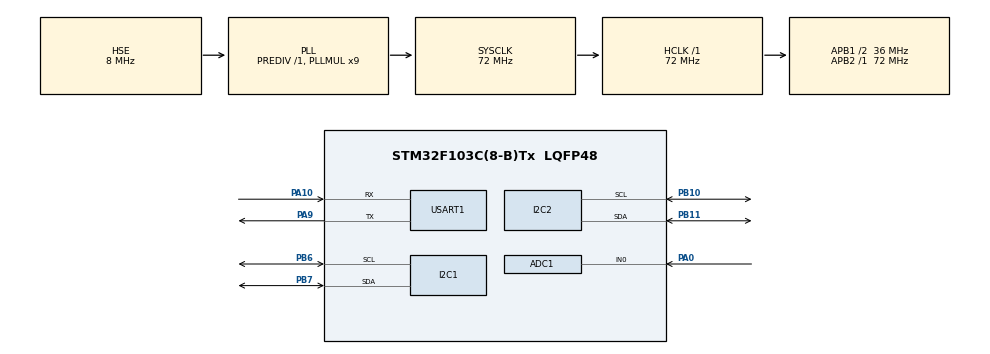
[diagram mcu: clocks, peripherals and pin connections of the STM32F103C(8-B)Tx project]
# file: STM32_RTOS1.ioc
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ADC1.Channel-0\#ChannelRegularConversion=ADC_CHANNEL_0
ADC1.NbrOfConversionFlag=1
ADC1.Rank-0\#ChannelRegularConversion=1
ADC1.SamplingTime-0\#ChannelRegularConversion=ADC_SAMPLETIME_1CYCLE_5
ADC1.master=1
FREERTOS.BinarySemaphores01=semDataReady,Dynamic,NULL,Depleted;semUartCmd,Dynamic,NULL,Depleted
FREERTOS.Mutexes01=myUartMutex,Dynamic,NULL,Available
FREERTOS.Tasks01=Task1_SHT30,24,512,StartTask1_SHT30,Default,NULL,Dynamic,NULL,NULL;Task2_Soil,24,512,StartTask2_soil,Default,NULL,Dynamic,NULL,NULL;Task3_Cmd,24,512,StartTask3_Cmd,Default,NULL,Dynamic,NULL,NULL;Task4_LCD,24,256,StartTask4_LCD,Default,NULL,Dynamic,NULL,NULL
FREERTOS.configENABLE_FPU=0
FREERTOS.configTOTAL_HEAP_SIZE=10240
FREERTOS.configUSE_IDLE_HOOK=1
Mcu.Family=STM32F1
Mcu.Name=STM32F103C(8-B)Tx
Mcu.Package=LQFP48
NVIC.PriorityGroup=NVIC_PRIORITYGROUP_4
NVIC.TIM4_IRQn=true\:15\:0\:false\:false\:true\:false\:false\:true\:true
NVIC.TimeBase=TIM4_IRQn
NVIC.TimeBaseIP=TIM4
NVIC.USART1_IRQn=true\:5\:0\:false\:false\:true\:true\:true\:true\:true
PA0-WKUP.Signal=ADCx_IN0
PA10.Mode=Asynchronous
PA10.Signal=USART1_RX
PA13.Mode=Serial_Wire
PA13.Signal=SYS_JTMS-SWDIO
PA14.Mode=Serial_Wire
PA14.Signal=SYS_JTCK-SWCLK
PA9.Mode=Asynchronous
PA9.Signal=USART1_TX
PB10.Mode=I2C
PB10.Signal=I2C2_SCL
PB11.Mode=I2C
PB11.Signal=I2C2_SDA
PB6.Mode=I2C
PB6.Signal=I2C1_SCL
PB7.Mode=I2C
PB7.Signal=I2C1_SDA
PD0-OSC_IN.Mode=HSE-External-Oscillator
PD0-OSC_IN.Signal=RCC_OSC_IN
PD1-OSC_OUT.Mode=HSE-External-Oscillator
PD1-OSC_OUT.Signal=RCC_OSC_OUT
ProjectManager.HeapSize=0x200
ProjectManager.StackSize=0x400
ProjectManager.TargetToolchain=STM32CubeIDE
RCC.ADCPresc=RCC_ADCPCLK2_DIV6
RCC.AHBFreq_Value=72000000
RCC.APB1CLKDivider=RCC_HCLK_DIV2
RCC.APB1Freq_Value=36000000
RCC.APB1TimFreq_Value=72000000
RCC.APB2Freq_Value=72000000
RCC.APB2TimFreq_Value=72000000
RCC.HCLKFreq_Value=72000000
RCC.PLLMUL=RCC_PLL_MUL9
RCC.PLLSourceVirtual=RCC_PLLSOURCE_HSE
RCC.SYSCLKFreq_VALUE=72000000
RCC.SYSCLKSource=RCC_SYSCLKSOURCE_PLLCLK
RCC.USBFreq_Value=72000000
SH.ADCx_IN0.0=ADC1_IN0,IN0
USART1.VirtualMode=VM_ASYNC
VP_FREERTOS_VS_CMSIS_V2.Mode=CMSIS_V2
VP_SYS_VS_tim4.Mode=TIM4
board=custom

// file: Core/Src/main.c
/* USER CODE BEGIN Header */
/**
  ******************************************************************************
  * @file           : main.c
  * @brief          : Main program body
  ******************************************************************************
  * @attention
  *
  * Copyright (c) 2026 STMicroelectronics.
  * All rights reserved.
  *
  * This software is licensed under terms that can be found in the LICENSE file
  * in the root directory of this software component.
  * If no LICENSE file comes with this software, it is provided AS-IS.
  *
  ******************************************************************************
  */
/* USER CODE END Header */
#include "main.h"
#include "cmsis_os.h"

/* USER CODE BEGIN Includes */
#include <stdio.h>
#include <string.h>
#include <stdarg.h>
#include "lcd_con.h"
#include "sht3x.h"
/* USER CODE END Includes */

ADC_HandleTypeDef hadc1;

I2C_HandleTypeDef hi2c1;
I2C_HandleTypeDef hi2c2;

UART_HandleTypeDef huart1;

/* Definitions for Task1_SHT30 */
osThreadId_t Task1_SHT30Handle;
const osThreadAttr_t Task1_SHT30_attributes = {
  .name = "Task1_SHT30",
  .stack_size = 512 * 4,
  .priority = (osPriority_t) osPriorityNormal,
};
/* Definitions for Task2_Soil */
osThreadId_t Task2_SoilHandle;
const osThreadAttr_t Task2_Soil_attributes = {
  .name = "Task2_Soil",
  .stack_size = 512 * 4,
  .priority = (osPriority_t) osPriorityNormal,
};
/* Definitions for Task3_Cmd */
osThreadId_t Task3_CmdHandle;
const osThreadAttr_t Task3_Cmd_attributes = {
  .name = "Task3_Cmd",
  .stack_size = 512 * 4,
  .priority = (osPriority_t) osPriorityNormal,
};
/* Definitions for Task4_LCD */
osThreadId_t Task4_LCDHandle;
const osThreadAttr_t Task4_LCD_attributes = {
  .name = "Task4_LCD",
  .stack_size = 256 * 4,
  .priority = (osPriority_t) osPriorityNormal,
};
/* Definitions for myUartMutex */
osMutexId_t myUartMutexHandle;
const osMutexAttr_t myUartMutex_attributes = {
  .name = "myUartMutex"
};
/* Definitions for semDataReady */
osSemaphoreId_t semDataReadyHandle;
const osSemaphoreAttr_t semDataReady_attributes = {
  .name = "semDataReady"
};
/* Definitions for semUartCmd */
osSemaphoreId_t semUartCmdHandle;
const osSemaphoreAttr_t semUartCmd_attributes = {
  .name = "semUartCmd"
};
/* USER CODE BEGIN PV */
// --- BIẾN TOÀN CỤC (Tên ngắn gọn theo yêu cầu) ---
float temp = 0.0f;  // Nhiệt độ từ SHT30
float soil = 0.0f;  // Độ ẩm đất từ ADC

// Buffer nhận UART
static char rx_buffer[50];
static uint8_t rx_byte;

sht3x_handle_t sht3x;

uint32_t cycle_SHT30 = 1000;
uint32_t cycle_Soil  = 2000;
/* USER CODE END PV */

void SystemClock_Config(void);
static void MX_GPIO_Init(void);
static void MX_USART1_UART_Init(void);
static void MX_ADC1_Init(void);
static void MX_I2C1_Init(void);
static void MX_I2C2_Init(void);
void StartTask1_SHT30(void *argument);
void StartTask2_soil(void *argument);
void StartTask3_Cmd(void *argument);
void StartTask4_LCD(void *argument);

/* USER CODE BEGIN 0 */
// Hàm này được thư viện chuẩn C gọi mỗi khi bạn dùng printf
#ifdef __GNUC__
int _write(int file, char *ptr, int len)
{

	HAL_UART_Transmit(&huart1, (uint8_t*)ptr, len, 100);
    return len;
}
#endif

float SoilMoisture_Convert(uint16_t adc_value) {
    if (adc_value > 2500) adc_value = 2500;
    if (adc_value < 830)  adc_value = 830;
    return (float)(2500 - adc_value) * 100.0f / (2500 - 830);
}

/* USER CODE END 0 */

int main(void)
{

  /* MCU Configuration--------------------------------------------------------*/

  /* Reset of all peripherals, Initializes the Flash interface and the Systick. */
  HAL_Init();

  /* Configure the system clock */
  SystemClock_Config();

  /* Initialize all configured peripherals */
  MX_GPIO_Init();
  MX_USART1_UART_Init();
  MX_ADC1_Init();
  MX_I2C1_Init();
  MX_I2C2_Init();
  /* USER CODE BEGIN 2 */
  sht3x.i2c_handle = &hi2c2;
  sht3x.device_address = SHT3X_I2C_DEVICE_ADDRESS_ADDR_PIN_LOW;
  lcd_init(&hi2c1);
  lcd_puts(&hi2c1, "System Init...");
  HAL_Delay(1000);
  lcd_clear(&hi2c1);

  setvbuf(stdout, NULL, _IONBF, 0);
  // Bật ngắt UART nhận
  HAL_UART_Receive_IT(&huart1, &rx_byte, 1);
  /* USER CODE END 2 */

  /* Init scheduler */
  osKernelInitialize();
  /* Create the mutex(es) */
  /* creation of myUartMutex */
  myUartMutexHandle = osMutexNew(&myUartMutex_attributes);

  /* Create the semaphores(s) */
  /* creation of semDataReady */
  semDataReadyHandle = osSemaphoreNew(1, 0, &semDataReady_attributes);

  /* creation of semUartCmd */
  semUartCmdHandle = osSemaphoreNew(1, 0, &semUartCmd_attributes);

  /* Create the thread(s) */
  /* creation of Task1_SHT30 */
  Task1_SHT30Handle = osThreadNew(StartTask1_SHT30, NULL, &Task1_SHT30_attributes);

  /* creation of Task2_Soil */
  Task2_SoilHandle = osThreadNew(StartTask2_soil, NULL, &Task2_Soil_attributes);

  /* creation of Task3_Cmd */
  Task3_CmdHandle = osThreadNew(StartTask3_Cmd, NULL, &Task3_Cmd_attributes);

  /* creation of Task4_LCD */
  Task4_LCDHandle = osThreadNew(StartTask4_LCD, NULL, &Task4_LCD_attributes);

  /* Start scheduler */
  osKernelStart();

  /* We should never get here as control is now taken by the scheduler */

  /* Infinite loop */
  while (1)
  {

  }
}

void SystemClock_Config(void)
{
  RCC_OscInitTypeDef RCC_OscInitStruct = {0};
  RCC_ClkInitTypeDef RCC_ClkInitStruct = {0};
  RCC_PeriphCLKInitTypeDef PeriphClkInit = {0};

  /** Initializes the RCC Oscillators according to the specified parameters
  * in the RCC_OscInitTypeDef structure.
  */
  RCC_OscInitStruct.OscillatorType = RCC_OSCILLATORTYPE_HSE;
  RCC_OscInitStruct.HSEState = RCC_HSE_ON;
  RCC_OscInitStruct.HSEPredivValue = RCC_HSE_PREDIV_DIV1;
  RCC_OscInitStruct.HSIState = RCC_HSI_ON;
  RCC_OscInitStruct.PLL.PLLState = RCC_PLL_ON;
  RCC_OscInitStruct.PLL.PLLSource = RCC_PLLSOURCE_HSE;
  RCC_OscInitStruct.PLL.PLLMUL = RCC_PLL_MUL9;
  if (HAL_RCC_OscConfig(&RCC_OscInitStruct) != HAL_OK)
  {
    Error_Handler();
  }

  /** Initializes the CPU, AHB and APB buses clocks
  */
  RCC_ClkInitStruct.ClockType = RCC_CLOCKTYPE_HCLK|RCC_CLOCKTYPE_SYSCLK
                              |RCC_CLOCKTYPE_PCLK1|RCC_CLOCKTYPE_PCLK2;
  RCC_ClkInitStruct.SYSCLKSource = RCC_SYSCLKSOURCE_PLLCLK;
  RCC_ClkInitStruct.AHBCLKDivider = RCC_SYSCLK_DIV1;
  RCC_ClkInitStruct.APB1CLKDivider = RCC_HCLK_DIV2;
  RCC_ClkInitStruct.APB2CLKDivider = RCC_HCLK_DIV1;

  if (HAL_RCC_ClockConfig(&RCC_ClkInitStruct, FLASH_LATENCY_2) != HAL_OK)
  {
    Error_Handler();
  }
  PeriphClkInit.PeriphClockSelection = RCC_PERIPHCLK_ADC;
  PeriphClkInit.AdcClockSelection = RCC_ADCPCLK2_DIV6;
  if (HAL_RCCEx_PeriphCLKConfig(&PeriphClkInit) != HAL_OK)
  {
    Error_Handler();
  }
}

static void MX_ADC1_Init(void)
{

  ADC_ChannelConfTypeDef sConfig = {0};

  /** Common config
  */
  hadc1.Instance = ADC1;
  hadc1.Init.ScanConvMode = ADC_SCAN_DISABLE;
  hadc1.Init.ContinuousConvMode = DISABLE;
  hadc1.Init.DiscontinuousConvMode = DISABLE;
  hadc1.Init.ExternalTrigConv = ADC_SOFTWARE_START;
  hadc1.Init.DataAlign = ADC_DATAALIGN_RIGHT;
  hadc1.Init.NbrOfConversion = 1;
  if (HAL_ADC_Init(&hadc1) != HAL_OK)
  {
    Error_Handler();
  }

  /** Configure Regular Channel
  */
  sConfig.Channel = ADC_CHANNEL_0;
  sConfig.Rank = ADC_REGULAR_RANK_1;
  sConfig.SamplingTime = ADC_SAMPLETIME_1CYCLE_5;
  if (HAL_ADC_ConfigChannel(&hadc1, &sConfig) != HAL_OK)
  {
    Error_Handler();
  }

}

static void MX_I2C1_Init(void)
{

  hi2c1.Instance = I2C1;
  hi2c1.Init.ClockSpeed = 100000;
  hi2c1.Init.DutyCycle = I2C_DUTYCYCLE_2;
  hi2c1.Init.OwnAddress1 = 0;
  hi2c1.Init.AddressingMode = I2C_ADDRESSINGMODE_7BIT;
  hi2c1.Init.DualAddressMode = I2C_DUALADDRESS_DISABLE;
  hi2c1.Init.OwnAddress2 = 0;
  hi2c1.Init.GeneralCallMode = I2C_GENERALCALL_DISABLE;
  hi2c1.Init.NoStretchMode = I2C_NOSTRETCH_DISABLE;
  if (HAL_I2C_Init(&hi2c1) != HAL_OK)
  {
    Error_Handler();
  }

}

static void MX_I2C2_Init(void)
{

  hi2c2.Instance = I2C2;
  hi2c2.Init.ClockSpeed = 100000;
  hi2c2.Init.DutyCycle = I2C_DUTYCYCLE_2;
  hi2c2.Init.OwnAddress1 = 0;
  hi2c2.Init.AddressingMode = I2C_ADDRESSINGMODE_7BIT;
  hi2c2.Init.DualAddressMode = I2C_DUALADDRESS_DISABLE;
  hi2c2.Init.OwnAddress2 = 0;
  hi2c2.Init.GeneralCallMode = I2C_GENERALCALL_DISABLE;
  hi2c2.Init.NoStretchMode = I2C_NOSTRETCH_DISABLE;
  if (HAL_I2C_Init(&hi2c2) != HAL_OK)
  {
    Error_Handler();
  }

}

static void MX_USART1_UART_Init(void)
{

  huart1.Instance = USART1;
  huart1.Init.BaudRate = 115200;
  huart1.Init.WordLength = UART_WORDLENGTH_8B;
  huart1.Init.StopBits = UART_STOPBITS_1;
  huart1.Init.Parity = UART_PARITY_NONE;
  huart1.Init.Mode = UART_MODE_TX_RX;
  huart1.Init.HwFlowCtl = UART_HWCONTROL_NONE;
  huart1.Init.OverSampling = UART_OVERSAMPLING_16;
  if (HAL_UART_Init(&huart1) != HAL_OK)
  {
    Error_Handler();
  }

}

static void MX_GPIO_Init(void)
{

  /* GPIO Ports Clock Enable */
  __HAL_RCC_GPIOD_CLK_ENABLE();
  __HAL_RCC_GPIOA_CLK_ENABLE();
  __HAL_RCC_GPIOB_CLK_ENABLE();

}

/* USER CODE BEGIN 4 */
/* Callback ngắt UART */
void HAL_UART_RxCpltCallback(UART_HandleTypeDef *huart)
{
  static uint8_t i = 0;
  if (huart->Instance == USART1)
  {
    if (rx_byte == '!') {
        rx_buffer[i] = 0;
        osSemaphoreRelease(semUartCmdHandle);
        i = 0;
    } else {
        if (i < 49) rx_buffer[i++] = rx_byte;
    }
    HAL_UART_Receive_IT(&huart1, &rx_byte, 1);
  }
}
/* USER CODE END 4 */

void StartTask1_SHT30(void *argument)
{
  /* USER CODE BEGIN 5 */
  uint32_t tick = osKernelGetTickCount();
  float dummy_hum;
  /* Infinite loop */
  for(;;)
  {
    sht3x_read_temperature_and_humidity(&sht3x, &temp, &dummy_hum);
	osSemaphoreRelease(semDataReadyHandle);
	if (osMutexAcquire(myUartMutexHandle, osWaitForever) == osOK) {
	    printf("Task 1 in: %lu\n", osKernelGetTickCount());
	    printf("Data SHT30: Temp: %.1f C\n\n", temp);
	    osMutexRelease(myUartMutexHandle);
	}
	tick += cycle_SHT30;
	osDelayUntil(tick);
  }
  /* USER CODE END 5 */
}

void StartTask2_soil(void *argument)
{
  /* USER CODE BEGIN StartTask2_soil */
  uint32_t tick = osKernelGetTickCount();
  /* Infinite loop */
  for(;;)
  {
	HAL_ADC_Start(&hadc1);
	if(HAL_ADC_PollForConversion(&hadc1, 10) == HAL_OK) {
	   soil = SoilMoisture_Convert(HAL_ADC_GetValue(&hadc1));
	}
	HAL_ADC_Stop(&hadc1);
	osSemaphoreRelease(semDataReadyHandle);
	if (osMutexAcquire(myUartMutexHandle, osWaitForever) == osOK) {
	    printf("Task 2 in: %lu\n", osKernelGetTickCount());
	    printf("Data Soil: %.1f %%\n\n", soil);
	    osMutexRelease(myUartMutexHandle);
	}
	tick += cycle_Soil;
	osDelayUntil(tick);
  }
  /* USER CODE END StartTask2_soil */
}

void StartTask3_Cmd(void *argument)
{
  /* USER CODE BEGIN StartTask3_Cmd */
  int new_value = 0; // Biến tạm để lưu số tách được
  /* Infinite loop */
  for(;;)
  {
	  // Chờ lệnh từ UART (Event-Driven)
	  if (osSemaphoreAcquire(semUartCmdHandle, osWaitForever) == osOK) {
		  osMutexAcquire(myUartMutexHandle, osWaitForever);
	      // --- 1. Xử lý lệnh chỉnh tốc độ SHT30 ---
	      // Cú pháp: RATE_TEMP:xxxx (Ví dụ: RATE_TEMP:2000)
	      if (strstr(rx_buffer, "T:") != NULL) {

	          // Lấy số sau dấu hai chấm bỏ vào biến new_value
	          sscanf(rx_buffer, "T:%d", &new_value);

	          // Bảo vệ: Không cho đặt nhanh quá (nhỏ hơn 100ms) gây treo
	          if (new_value >= 100) {
	              cycle_SHT30 = new_value;
	              printf("\r\nOK -> Temp sampling rate changed to: %lu ms\r\n", cycle_SHT30);
	          }
	      }

	      // --- 2. Xử lý lệnh chỉnh tốc độ Soil ---
	      // Cú pháp: RATE_SOIL:xxxx (Ví dụ: RATE_SOIL:500)
	      else if (strstr(rx_buffer, "S:") != NULL) {

	           sscanf(rx_buffer, "S:%d", &new_value);

	           if (new_value >= 100) {
	               cycle_Soil = new_value;
	               printf("\r\nOK -> Soil sampling rate changed to: %lu ms\r\n", cycle_Soil);
	           }
	      }

	      // --- 3. Lệnh không hợp lệ ---
	      else {
	            // Chỉ báo lỗi nếu chuỗi không rỗng (tránh in rác)
	            if(strlen(rx_buffer) > 1) {
	               printf("ERROR: Unknown command!\r\n");
	            }
	      }
	      osMutexRelease(myUartMutexHandle);
	      // Xóa sạch buffer sau khi xử lý xong
	      memset(rx_buffer, 0, sizeof(rx_buffer));
	  }
  }
  /* USER CODE END StartTask3_Cmd */
}

void StartTask4_LCD(void *argument)
{
  /* USER CODE BEGIN StartTask4_LCD */
  char lcd_buf[20];
  /* Infinite loop */
  for(;;)
  {
	  // Dùng Semaphore để chờ dữ liệu mới từ sensor
	  if (osSemaphoreAcquire(semDataReadyHandle, osWaitForever) == osOK) {
	      sprintf(lcd_buf, "Temp: %.1f C     ", temp);
	      lcd_gotoxy(&hi2c1, 0, 0);
	      lcd_puts(&hi2c1, lcd_buf);

	      sprintf(lcd_buf, "Soil: %.1f %%     ", soil);
	      lcd_gotoxy(&hi2c1, 0, 1);
	      lcd_puts(&hi2c1, lcd_buf);
	  }
  }
  /* USER CODE END StartTask4_LCD */
}

void HAL_TIM_PeriodElapsedCallback(TIM_HandleTypeDef *htim)
{
  if (htim->Instance == TIM4)
  {
    HAL_IncTick();
  }
}

void Error_Handler(void)
{
  __disable_irq();
  while (1)
  {
  }
}

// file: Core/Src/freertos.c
/* USER CODE BEGIN Header */
/**
  ******************************************************************************
  * File Name          : freertos.c
  * Description        : Code for freertos applications
  ******************************************************************************
  * @attention
  *
  * Copyright (c) 2026 STMicroelectronics.
  * All rights reserved.
  *
  * This software is licensed under terms that can be found in the LICENSE file
  * in the root directory of this software component.
  * If no LICENSE file comes with this software, it is provided AS-IS.
  *
  ******************************************************************************
  */
/* USER CODE END Header */

#include "FreeRTOS.h"
#include "task.h"
#include "main.h"

/* Hook prototypes */
void vApplicationIdleHook(void);

/* USER CODE BEGIN 2 */
void vApplicationIdleHook( void )
{
   /* vApplicationIdleHook() will only be called if configUSE_IDLE_HOOK is set
   to 1 in FreeRTOSConfig.h. It will be called on each iteration of the idle
   task. It is essential that code added to this hook function never attempts
   to block in any way (for example, call xQueueReceive() with a block time
   specified, or call vTaskDelay()). If the application makes use of the
   vTaskDelete() API function (as this demo application does) then it is also
   important that vApplicationIdleHook() is permitted to return to its calling
   function, because it is the responsibility of the idle task to clean up
   memory allocated by the kernel to any task that has since been deleted. */
   HAL_PWR_EnterSLEEPMode(PWR_MAINREGULATOR_ON, PWR_SLEEPENTRY_WFI);
}
/* USER CODE END 2 */
